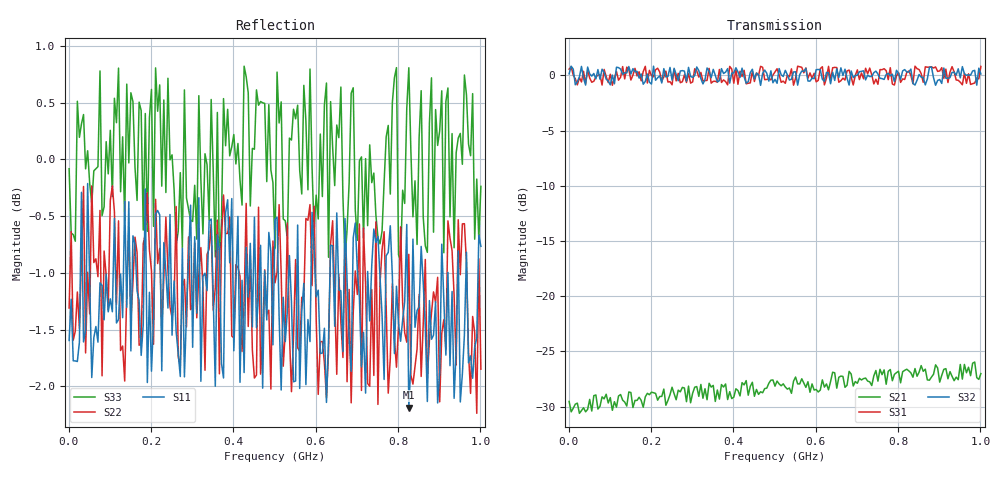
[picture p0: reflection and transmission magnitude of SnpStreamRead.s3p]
#  HZ  S  MA  R  50.00
! Rohde & Schwarz Vector Network Analyzer
! Rohde-Schwarz,ZNB8-4Port,1311601044100104,1.93.2.45
! Created: UTC 3/14/2014, 12:26:07 AM
! freq[Hz]  mag:S11  ang:S11  mag:S12  ang:S12  mag:S13  ang:S13
!  mag:S21  ang:S21  mag:S22  ang:S22  mag:S23  ang:S23
!  mag:S31  ang:S31  mag:S32  ang:S32  mag:S33  ang:S33
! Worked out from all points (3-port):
!   201 points, 1 MHz to 1.001 GHz, reference 50 ohm
!   strongest paths, dB at 1 MHz, 251 MHz, 501 MHz, 751 MHz, 1.001 GHz:
!     S32: 0.1, -0.4, -0.4, 0.1, 0.1
!     S31: 0.6, -0.9, 0.3, -0.8, 0.8
!     S21: -29.5, -28.2, -28.1, -27.7, -27.0
!   lowest |S11| = -2.2 dB at 826 MHz (marker M1), VSWR 7.99, Z = 400 + j0 ohm
!   |S11| at or under -10 dB: nowhere
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1000000  0.8323 0.0  0.03092 0.0  0.9045 0.0
         0.03337 0.0  0.8602 0.0  0.9597 0.0
         1.066 0.0  1.016 0.0  0.9907 0.0
4.1e7  0.841 0.0  0.03342 0.0  1.095 0.0
       0.02996 0.0  0.8218 0.0  0.9147 0.0
       0.9153 0.0  0.9036 0.0  0.9905 0.0
4.6e7  0.9759 0.0  0.02966 0.0  0.9022 0.0
       0.03074 0.0  0.892 0.0  1.091 0.0
       1.061 0.0  1.09 0.0  1.009 0.0
6.6e7  0.8441 0.0  0.03066 0.0  1.021 0.0
       0.03569 0.0  0.9041 0.0  0.9016 0.0
       0.983 0.0  0.9632 0.0  0.9906 0.0
1.31e8  0.8517 0.0  0.03678 0.0  1.076 0.0
        0.03383 0.0  0.8276 0.0  1.097 0.0
        1.095 0.0  1.011 0.0  1.023 0.0
1.36e8  0.9587 0.0  0.0331 0.0  1.096 0.0
        0.03317 0.0  0.7987 0.0  0.9004 0.0
        0.9636 0.0  1.027 0.0  0.9398 0.0
5.01e8  0.9414 0.0  0.03567 0.0  0.965 0.0
        0.03913 0.0  0.8823 0.0  1.088 0.0
        1.035 0.0  0.9589 0.0  0.9136 0.0
8.06e8  0.8316 0.0  0.04756 0.0  1.034 0.0
        0.04052 0.0  0.934 0.0  0.9277 0.0
        0.9291 0.0  0.9595 0.0  0.9024 0.0
8.26e8  0.7775 0.0  0.04398 0.0  1.013 0.0
        0.0459 0.0  0.9082 0.0  0.991 0.0
        1.046 0.0  1.034 0.0  1.097 0.0
1.001e9  0.9156 0.0  0.04247 0.0  1.007 0.0
         0.04463 0.0  0.8084 0.0  1.072 0.0
         1.097 0.0  1.014 0.0  0.9731 0.0
